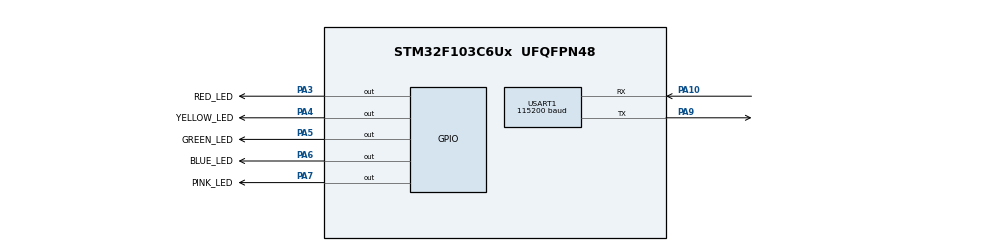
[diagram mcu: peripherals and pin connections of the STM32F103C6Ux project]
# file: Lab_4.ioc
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Mcu.Family=STM32F1
Mcu.Name=STM32F103C6Ux
Mcu.Package=UFQFPN48
NVIC.PriorityGroup=NVIC_PRIORITYGROUP_4
NVIC.TIM2_IRQn=true\:0\:0\:false\:false\:true\:true\:true
NVIC.USART1_IRQn=true\:0\:0\:false\:false\:true\:true\:true
PA10.Mode=Asynchronous
PA10.Signal=USART1_RX
PA3.GPIO_Label=RED_LED
PA3.Signal=GPIO_Output
PA3.PinState=GPIO_PIN_SET
PA4.GPIO_Label=YELLOW_LED
PA4.GPIO_PuPd=GPIO_NOPULL
PA4.GPIO_Speed=GPIO_SPEED_FREQ_LOW
PA4.Signal=GPIO_Output
PA4.PinState=GPIO_PIN_SET
PA5.GPIO_Label=GREEN_LED
PA5.GPIO_PuPd=GPIO_NOPULL
PA5.GPIO_Speed=GPIO_SPEED_FREQ_LOW
PA5.Signal=GPIO_Output
PA5.PinState=GPIO_PIN_SET
PA6.GPIO_Label=BLUE_LED
PA6.Signal=GPIO_Output
PA6.PinState=GPIO_PIN_SET
PA7.GPIO_Label=PINK_LED
PA7.Signal=GPIO_Output
PA7.PinState=GPIO_PIN_SET
PA9.Mode=Asynchronous
PA9.Signal=USART1_TX
ProjectManager.HeapSize=0x200
ProjectManager.StackSize=0x400
ProjectManager.TargetToolchain=STM32CubeIDE
RCC.APB1Freq_Value=8000000
RCC.APB2Freq_Value=8000000
TIM2.Period=9
TIM2.Prescaler=7999
USART1.BaudRate=115200
USART1.WordLength=UART_WORDLENGTH_8B
USART1.StopBits=UART_STOPBITS_1
USART1.Parity=UART_PARITY_NONE
USART1.Mode=UART_MODE_TX_RX
USART1.HardwareFlowControl=UART_HWCONTROL_NONE
USART1.VirtualMode=VM_ASYNC
VP_SYS_VS_ND.Mode=No_Debug
VP_TIM2_VS_ClockSourceINT.Mode=Internal
board=custom

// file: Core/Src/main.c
/* USER CODE BEGIN Header */
/**
  ******************************************************************************
  * @file           : main.c
  * @brief          : Main program body
  ******************************************************************************
  * @attention
  *
  * <h2><center>&copy; Copyright (c) 2026 STMicroelectronics.
  * All rights reserved.</center></h2>
  *
  * This software component is licensed by ST under BSD 3-Clause license,
  * the "License"; You may not use this file except in compliance with the
  * License. You may obtain a copy of the License at:
  *                        opensource.org/licenses/BSD-3-Clause
  *
  ******************************************************************************
  */
/* USER CODE END Header */
#include "main.h"

/* USER CODE BEGIN Includes */
#include "scheduler.h"
#include "app_tasks.h"
#include "serial_log.h"
#include "trace.h"
/* USER CODE END Includes */

TIM_HandleTypeDef htim2;

UART_HandleTypeDef huart1;

void SystemClock_Config(void);
static void MX_GPIO_Init(void);
static void MX_TIM2_Init(void);
static void MX_USART1_UART_Init(void);

int main(void)
{

  /* MCU Configuration--------------------------------------------------------*/

  /* Reset of all peripherals, Initializes the Flash interface and the Systick. */
  HAL_Init();

  /* Configure the system clock */
  SystemClock_Config();

  /* Initialize all configured peripherals */
  MX_GPIO_Init();
  MX_TIM2_Init();
  MX_USART1_UART_Init();
  /* USER CODE BEGIN 2 */
  SCH_Init();
  App_Init();

  if (SCH_Add_Task(Task_Blink_Red,    50U,  50U) == SCH_INVALID_TASK_ID ||
      SCH_Add_Task(Task_Blink_Yellow, 100U, 100U) == SCH_INVALID_TASK_ID ||
      SCH_Add_Task(Task_Blink_Green,  150U, 150U) == SCH_INVALID_TASK_ID ||
      SCH_Add_Task(Task_Blink_Blue,   200U, 200U) == SCH_INVALID_TASK_ID ||
      SCH_Add_Task(Task_Blink_Pink,   250U, 250U) == SCH_INVALID_TASK_ID ||
      SCH_Add_Task(Task_Trace_10ms,    1U,   1U) == SCH_INVALID_TASK_ID ||
      /* Register the later deadline first to prove deadline ordering. */
      SCH_Add_Task(Task_Once_750ms,   75U,   0U) == SCH_INVALID_TASK_ID ||
      SCH_Add_Task(Task_Once_350ms,   35U,   0U) == SCH_INVALID_TASK_ID) {
    Error_Handler();
  }
  uint32_t cancelled_id = SCH_Add_Task(Task_Cancelled, 120U, 0U);
  if (cancelled_id == SCH_INVALID_TASK_ID) Error_Handler();
  App_SetCancelledTaskID(cancelled_id);
  if (SCH_Add_Task(Task_Delete_600ms, 60U, 0U) == SCH_INVALID_TASK_ID) Error_Handler();
  /* HAL init generates UG/UIF while loading PSC. Clear it so the first
   * scheduler tick occurs after a complete 10 ms interval, not at startup. */
  __HAL_TIM_SET_COUNTER(&htim2, 0U);
  __HAL_TIM_CLEAR_FLAG(&htim2, TIM_FLAG_UPDATE);
  HAL_NVIC_ClearPendingIRQ(TIM2_IRQn);
  HAL_TIM_Base_Start_IT(&htim2);
  /* USER CODE END 2 */

  /* Infinite loop */
  while (1)
  {

    /* USER CODE BEGIN 3 */
    SCH_Dispatch_Tasks();
    Serial_Poll();
  }
  /* USER CODE END 3 */
}

void SystemClock_Config(void)
{
  RCC_OscInitTypeDef RCC_OscInitStruct = {0};
  RCC_ClkInitTypeDef RCC_ClkInitStruct = {0};

  /** Initializes the RCC Oscillators according to the specified parameters
  * in the RCC_OscInitTypeDef structure.
  */
  RCC_OscInitStruct.OscillatorType = RCC_OSCILLATORTYPE_HSI;
  RCC_OscInitStruct.HSIState = RCC_HSI_ON;
  RCC_OscInitStruct.HSICalibrationValue = RCC_HSICALIBRATION_DEFAULT;
  RCC_OscInitStruct.PLL.PLLState = RCC_PLL_NONE;
  if (HAL_RCC_OscConfig(&RCC_OscInitStruct) != HAL_OK)
  {
    Error_Handler();
  }
  /** Initializes the CPU, AHB and APB buses clocks
  */
  RCC_ClkInitStruct.ClockType = RCC_CLOCKTYPE_HCLK|RCC_CLOCKTYPE_SYSCLK
                              |RCC_CLOCKTYPE_PCLK1|RCC_CLOCKTYPE_PCLK2;
  RCC_ClkInitStruct.SYSCLKSource = RCC_SYSCLKSOURCE_HSI;
  RCC_ClkInitStruct.AHBCLKDivider = RCC_SYSCLK_DIV1;
  RCC_ClkInitStruct.APB1CLKDivider = RCC_HCLK_DIV1;
  RCC_ClkInitStruct.APB2CLKDivider = RCC_HCLK_DIV1;

  if (HAL_RCC_ClockConfig(&RCC_ClkInitStruct, FLASH_LATENCY_0) != HAL_OK)
  {
    Error_Handler();
  }
}

static void MX_TIM2_Init(void)
{

  TIM_ClockConfigTypeDef sClockSourceConfig = {0};
  TIM_MasterConfigTypeDef sMasterConfig = {0};

  htim2.Instance = TIM2;
  htim2.Init.Prescaler = 7999;
  htim2.Init.CounterMode = TIM_COUNTERMODE_UP;
  htim2.Init.Period = 9;
  htim2.Init.ClockDivision = TIM_CLOCKDIVISION_DIV1;
  htim2.Init.AutoReloadPreload = TIM_AUTORELOAD_PRELOAD_DISABLE;
  if (HAL_TIM_Base_Init(&htim2) != HAL_OK)
  {
    Error_Handler();
  }
  sClockSourceConfig.ClockSource = TIM_CLOCKSOURCE_INTERNAL;
  if (HAL_TIM_ConfigClockSource(&htim2, &sClockSourceConfig) != HAL_OK)
  {
    Error_Handler();
  }
  sMasterConfig.MasterOutputTrigger = TIM_TRGO_RESET;
  sMasterConfig.MasterSlaveMode = TIM_MASTERSLAVEMODE_DISABLE;
  if (HAL_TIMEx_MasterConfigSynchronization(&htim2, &sMasterConfig) != HAL_OK)
  {
    Error_Handler();
  }

}

static void MX_USART1_UART_Init(void)
{

  huart1.Instance = USART1;
  huart1.Init.BaudRate = 115200;
  huart1.Init.WordLength = UART_WORDLENGTH_8B;
  huart1.Init.StopBits = UART_STOPBITS_1;
  huart1.Init.Parity = UART_PARITY_NONE;
  huart1.Init.Mode = UART_MODE_TX_RX;
  huart1.Init.HwFlowCtl = UART_HWCONTROL_NONE;
  huart1.Init.OverSampling = UART_OVERSAMPLING_16;
  if (HAL_UART_Init(&huart1) != HAL_OK)
  {
    Error_Handler();
  }

}

static void MX_GPIO_Init(void)
{
  GPIO_InitTypeDef GPIO_InitStruct = {0};

  /* GPIO Ports Clock Enable */
  __HAL_RCC_GPIOA_CLK_ENABLE();

  /*Configure GPIO pin Output Level */
  HAL_GPIO_WritePin(GPIOA, RED_LED_Pin|YELLOW_LED_Pin|GREEN_LED_Pin|BLUE_LED_Pin
                          |PINK_LED_Pin, GPIO_PIN_SET);

  /*Configure GPIO pins : RED_LED_Pin YELLOW_LED_Pin GREEN_LED_Pin BLUE_LED_Pin
                           PINK_LED_Pin */
  GPIO_InitStruct.Pin = RED_LED_Pin|YELLOW_LED_Pin|GREEN_LED_Pin|BLUE_LED_Pin
                          |PINK_LED_Pin;
  GPIO_InitStruct.Mode = GPIO_MODE_OUTPUT_PP;
  GPIO_InitStruct.Pull = GPIO_NOPULL;
  GPIO_InitStruct.Speed = GPIO_SPEED_FREQ_LOW;
  HAL_GPIO_Init(GPIOA, &GPIO_InitStruct);

}

/* USER CODE BEGIN 4 */
void HAL_TIM_PeriodElapsedCallback(TIM_HandleTypeDef *htim)
{
  if ((htim != NULL) && (htim->Instance == TIM2)) {
    SCH_Update();
#if LAB_SCOPE_PINS
    HAL_GPIO_TogglePin(GPIOB, GPIO_PIN_14);
#endif
  }
}
/* USER CODE END 4 */

void Error_Handler(void)
{
  __disable_irq();
  while (1)
  {
  }
}

/************************ (C) COPYRIGHT STMicroelectronics *****END OF FILE****/
